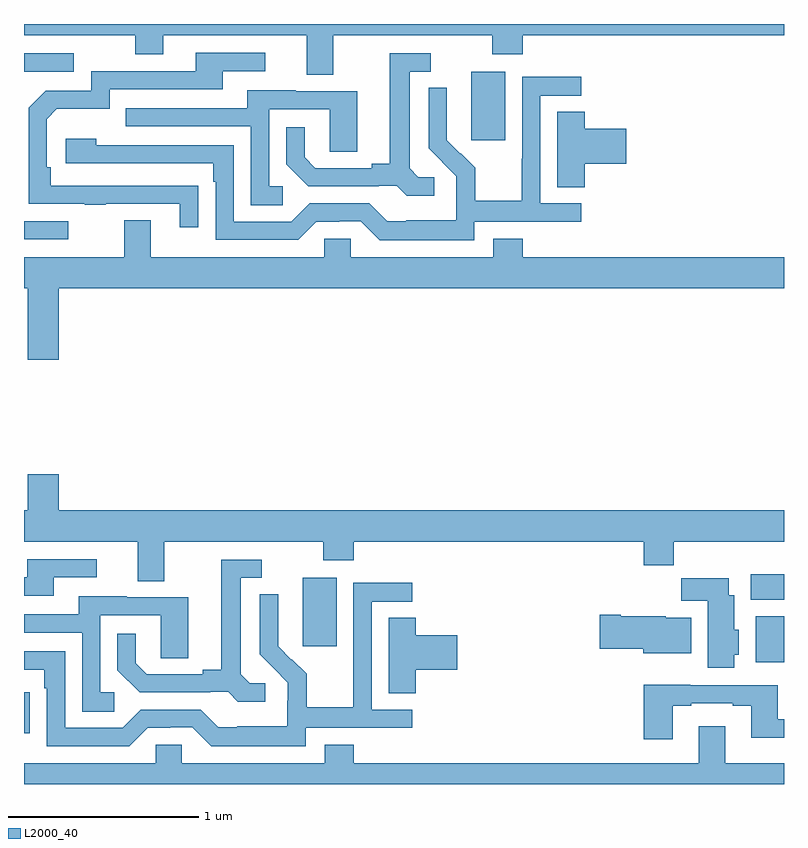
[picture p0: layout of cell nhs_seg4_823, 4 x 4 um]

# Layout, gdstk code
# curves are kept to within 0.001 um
import gdstk
lib = gdstk.Library(unit=1e-6, precision=1e-09)
def R(c, l, rs):  # rectangles x0, y0, x1, y1
    for r in rs: c.add(gdstk.rectangle(r[:2], r[2:], *l))
def P(c, l, *ps):  # polygons
    for p in ps: c.add(gdstk.Polygon(p, *l))
L2000_40 = (2000, 40)

nhs_seg4_823 = lib.new_cell('nhs_seg4_823')
R(nhs_seg4_823, L2000_40, [(153,773.166,153.029,773.384), (156.851,773.54,157,773.782), (154.466,773.625,154.645,773.986), (156.824,773.87,157,774.004), (153,775.767,153.232,775.863), (155.354,776.289,155.533,776.65), (153,776.649,153.262,776.745)])
P(nhs_seg4_823, L2000_40, [(154.627,776.84),(155.464,776.84),(155.464,776.741),(155.624,776.741),(155.624,776.84),(157,776.84),(157,776.9),(153,776.9),(153,776.84),(153.586,776.84),(153.586,776.741),(153.733,776.741),(153.733,776.84),(154.487,776.84),(154.487,776.632),(154.627,776.632)],
  [(153.917,776.048),(153.14,776.049),(153.14,776.146),(153.12,776.146),(153.12,776.4),(153.173,776.453),(153.45,776.453),(153.45,776.556),(154.045,776.556),(154.045,776.652),(154.27,776.652),(154.27,776.748),(153.905,776.748),(153.905,776.652),(153.354,776.652),(153.354,776.55),(153.114,776.55),(153.024,776.46),(153.024,775.953),(153.319,775.953),(153.319,775.948),(153.431,775.948),(153.431,775.953),(153.821,775.953),(153.821,775.83),(153.917,775.83)],
  [(155.158,776.094),(155.076,776.094),(155.029,776.141),(155.029,776.649),(155.14,776.649),(155.14,776.745),(154.925,776.745),(154.925,776.165),(154.829,776.165),(154.829,776.142),(154.534,776.142),(154.477,776.199),(154.477,776.356),(154.38,776.356),(154.38,776.162),(154.496,776.046),(154.868,776.046),(154.868,776.049),(154.962,776.049),(155.014,775.997),(155.158,775.997)],
  [(155.37,775.86),(155.932,775.86),(155.932,775.956),(155.718,775.956),(155.718,776.523),(155.932,776.523),(155.932,776.622),(155.622,776.622),(155.622,776.192),(155.62,776.192),(155.62,775.969),(155.375,775.969),(155.375,776.143),(155.298,776.22),(155.295,776.217),(155.225,776.288),(155.226,776.564),(155.13,776.564),(155.13,776.246),(155.276,776.098),(155.276,776.001),(155.274,776.001),(155.274,775.867),(155.011,775.867),(155.011,775.863),(154.911,775.863),(154.818,775.956),(154.503,775.956),(154.407,775.86),(154.104,775.86),(154.104,776.262),(153.38,776.262),(153.38,776.296),(153.219,776.296),(153.219,776.166),(153.995,776.166),(153.995,776.069),(154.008,776.069),(154.008,775.764),(154.443,775.764),(154.539,775.86),(154.658,775.86),(154.658,775.863),(154.773,775.863),(154.873,775.763),(155.37,775.763)],
  [(154.363,776.046),(154.29,776.046),(154.29,776.451),(154.608,776.451),(154.608,776.227),(154.753,776.227),(154.753,776.547),(154.429,776.547),(154.429,776.551),(154.175,776.551),(154.175,776.457),(153.535,776.457),(153.535,776.361),(154.194,776.361),(154.194,775.945),(154.363,775.945)],
  [(155.951,776.165),(156.169,776.165),(156.169,776.348),(155.951,776.348),(155.951,776.438),(155.807,776.438),(155.807,776.041),(155.951,776.041)],
  [(153.184,775.508),(157,775.508),(157,775.672),(155.624,775.672),(155.624,775.771),(155.471,775.771),(155.471,775.672),(154.719,775.672),(154.719,775.77),(154.581,775.77),(154.581,775.672),(153.667,775.672),(153.667,775.867),(153.527,775.867),(153.527,775.672),(153,775.672),(153,775.508),(153.02,775.508),(153.02,775.134),(153.184,775.134)],
  [(153.739,774.176),(154.576,774.176),(154.576,774.077),(154.736,774.077),(154.736,774.176),(156.263,774.176),(156.263,774.052),(156.419,774.052),(156.419,774.176),(157,774.176),(157,774.34),(153.184,774.34),(153.184,774.529),(153.02,774.529),(153.02,774.34),(153,774.34),(153,774.176),(153.599,774.176),(153.599,773.968),(153.739,773.968)],
  [(153.157,773.988),(153.382,773.988),(153.382,774.084),(153.017,774.084),(153.017,773.988),(153,773.988),(153,773.892),(153.157,773.892)],
  [(154.27,773.43),(154.188,773.43),(154.141,773.477),(154.141,773.985),(154.252,773.985),(154.252,774.081),(154.037,774.081),(154.037,773.501),(153.941,773.501),(153.941,773.478),(153.646,773.478),(153.589,773.535),(153.589,773.692),(153.492,773.692),(153.492,773.498),(153.608,773.382),(153.98,773.382),(153.98,773.385),(154.074,773.385),(154.126,773.333),(154.27,773.333)],
  [(156.739,773.58),(156.763,773.58),(156.763,773.712),(156.739,773.712),(156.739,773.893),(156.709,773.893),(156.709,773.983),(156.46,773.983),(156.46,773.864),(156.599,773.864),(156.599,773.513),(156.739,773.513)],
  [(154.482,773.196),(155.044,773.196),(155.044,773.292),(154.83,773.292),(154.83,773.859),(155.044,773.859),(155.044,773.958),(154.734,773.958),(154.734,773.528),(154.732,773.528),(154.732,773.305),(154.487,773.305),(154.487,773.479),(154.41,773.556),(154.407,773.553),(154.337,773.624),(154.338,773.9),(154.242,773.9),(154.242,773.582),(154.388,773.434),(154.388,773.337),(154.386,773.337),(154.386,773.203),(154.123,773.203),(154.123,773.199),(154.023,773.199),(153.93,773.292),(153.615,773.292),(153.519,773.196),(153.216,773.196),(153.216,773.598),(153,773.598),(153,773.502),(153.107,773.502),(153.107,773.405),(153.12,773.405),(153.12,773.1),(153.555,773.1),(153.651,773.196),(153.77,773.196),(153.77,773.199),(153.885,773.199),(153.985,773.099),(154.482,773.099)],
  [(153.475,773.382),(153.402,773.382),(153.402,773.787),(153.72,773.787),(153.72,773.563),(153.865,773.563),(153.865,773.883),(153.541,773.883),(153.541,773.887),(153.287,773.887),(153.287,773.793),(153,773.793),(153,773.697),(153.306,773.697),(153.306,773.281),(153.475,773.281)],
  [(156.511,773.776),(156.378,773.776),(156.378,773.782),(156.142,773.782),(156.142,773.79),(156.03,773.79),(156.03,773.612),(156.26,773.612),(156.26,773.588),(156.511,773.588)],
  [(155.063,773.501),(155.281,773.501),(155.281,773.684),(155.063,773.684),(155.063,773.774),(154.919,773.774),(154.919,773.377),(155.063,773.377)],
  [(156.415,773.313),(156.511,773.313),(156.511,773.325),(156.731,773.325),(156.731,773.313),(156.827,773.313),(156.827,773.144),(157,773.144),(157,773.241),(156.967,773.241),(156.967,773.421),(156.507,773.421),(156.507,773.422),(156.263,773.422),(156.263,773.136),(156.415,773.136)],
  [(157,773.008),(156.691,773.008),(156.691,773.203),(156.551,773.203),(156.551,773.008),(154.736,773.008),(154.736,773.107),(154.583,773.107),(154.583,773.008),(153.831,773.008),(153.831,773.106),(153.693,773.106),(153.693,773.008),(153,773.008),(153,772.9),(157,772.9)])

lib.write_gds('nhs_seg4_823.gds')
